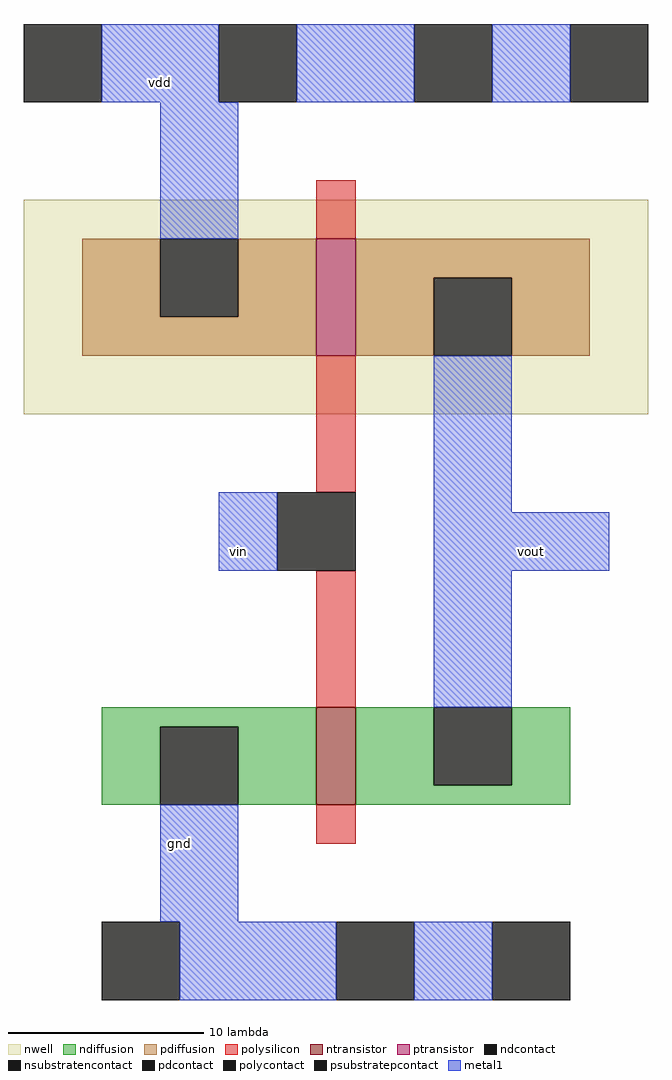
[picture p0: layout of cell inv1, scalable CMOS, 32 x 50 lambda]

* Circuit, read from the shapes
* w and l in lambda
.subckt inv1 gnd vdd vin vout
M1 vout vin gnd gnd nfet w=5 l=2
M2 vout vin vdd n1 pfet w=6 l=2
.ends

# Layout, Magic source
magic
tech scmos
<< nwell >>
rect -6 1 26 12
<< polysilicon >>
rect 9 10 11 13
rect 9 -3 11 4
rect 9 -14 11 -7
rect 9 -21 11 -19
<< ndiffusion >>
rect -2 -15 9 -14
rect -2 -19 1 -15
rect 5 -19 9 -15
rect 11 -18 15 -14
rect 19 -18 22 -14
rect 11 -19 22 -18
<< pdiffusion >>
rect -3 6 1 10
rect 5 6 9 10
rect -3 4 9 6
rect 11 8 23 10
rect 11 4 15 8
rect 19 4 23 8
<< metal1 >>
rect -2 17 4 21
rect 8 17 14 21
rect 18 17 22 21
rect 1 10 5 17
rect 4 -7 7 -3
rect 15 -4 19 4
rect 15 -7 24 -4
rect 15 -14 19 -7
rect 1 -25 5 -19
rect 2 -29 10 -25
rect 14 -29 18 -25
<< ntransistor >>
rect 9 -19 11 -14
<< ptransistor >>
rect 9 4 11 10
<< polycontact >>
rect 7 -7 11 -3
<< ndcontact >>
rect 1 -19 5 -15
rect 15 -18 19 -14
<< pdcontact >>
rect 1 6 5 10
rect 15 4 19 8
<< psubstratepcontact >>
rect -2 -29 2 -25
rect 10 -29 14 -25
rect 18 -29 22 -25
<< nsubstratencontact >>
rect -6 17 -2 21
rect 4 17 8 21
rect 14 17 18 21
rect 22 17 26 21
<< labels >>
rlabel metal1 1 18 1 18 5 vdd
rlabel metal1 2 -21 2 -21 1 gnd
rlabel metal1 20 -6 20 -6 1 vout
rlabel metal1 5 -6 5 -6 1 vin
<< end >>
